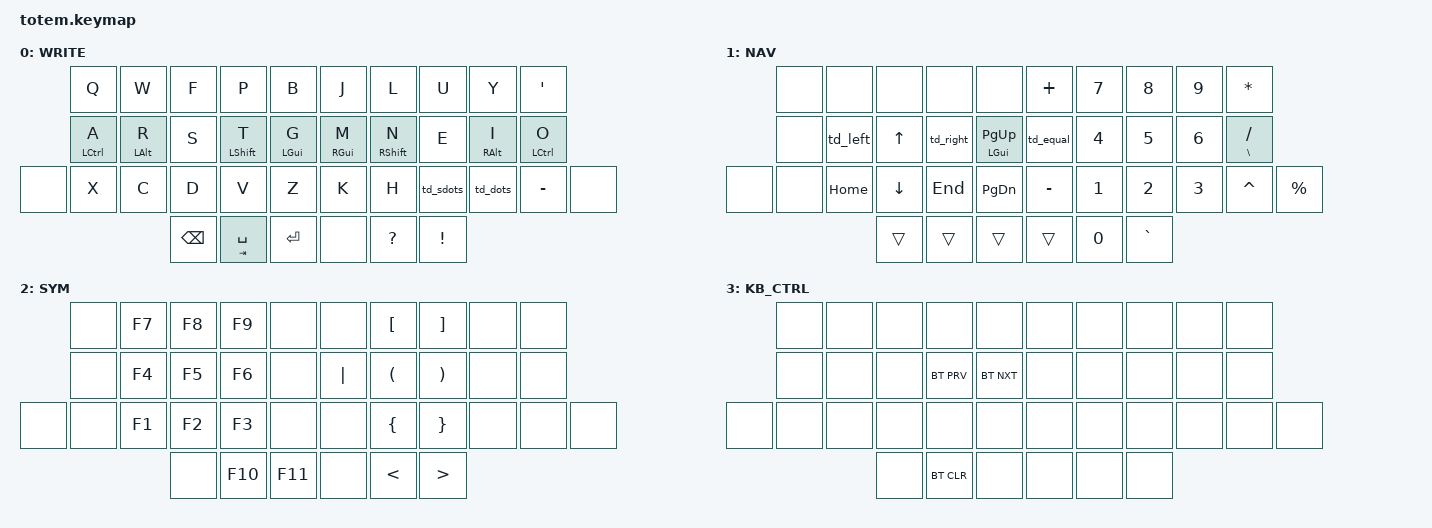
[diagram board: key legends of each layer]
//
//                                                        ▀▀▀▀▀     ▀▀▀▀▀          ▀▀█▀▀
//                                                        ▄▀▀▀▄  ▄  ▄▀▀▀▄  ▄  ▄▀▀▀▄  █  ▄▀▀▀▄
//                                                        █   █  █  █   █  █  █   █  █  █   █
//                                                         ▀▀▀   █   ▀▀▀   █   ▀▀▀   ▀   ▀▀▀
//                                                               █      ▄▄▄█▄▄▄    █   █  
//                                                               ▀      █  █  █     █▄█
//                                                             ▀▀▀▀▀    █  █  █      ▀
//                                                                      ▀  ▀  ▀
//
// ▄▄▄▄▄▄▄▄▄▄▄▄▄▄▄▄▄▄▄▄▄▄▄▄▄▄▄▄▄▄▄▄▄▄▄▄▄▄▄▄▄▄▄▄▄▄▄▄▄▄▄▄▄▄▄▄▄▄▄▄▄▄▄▄▄▄▄▄▄▄▄▄▄▄▄▄▄▄▄▄▄▄▄▄▄▄▄▄▄▄▄▄▄▄▄▄▄▄▄▄▄▄▄▄▄▄▄▄▄▄▄▄▄▄▄▄▄▄▄▄▄▄▄▄▄▄▄▄▄▄▄▄▄▄▄▄▄▄▄▄▄▄▄▄▄▄▄▄▄
       

#include <behaviors.dtsi>
#include <dt-bindings/zmk/keys.h>
#include <dt-bindings/zmk/bt.h>
#include <dt-bindings/zmk/outputs.h>

// NUMBERS REPRESENT INDEXES OF LAYERS IN THE KEYMAP
#define WRITE 0
#define NAV 1
#define SYM  2
#define KB_CTRL 3

#define DUMMY_KEY F24 // DUMMY KEY

&mt {
  quick-tap-ms = <100>;
  global-quick-tap;
  flavor = "tap-preferred";
  tapping-term-ms = <250>;
};

/ {

//             ┏━━━━━━━━━━━┳━━━━━━━━━━━┳━━━━━━━━━━━┳━━━━━━━━━━━┳━━━━━━━━━━━┓   ┏━━━━━━━━━━━┳━━━━━━━━━━━┳━━━━━━━━━━━┳━━━━━━━━━━━┳━━━━━━━━━━━┓
//             ┃     0     ┃     1     ┃     2     ┃     3     ┃     4     ┃   ┃     5     ┃     6     ┃     7     ┃     8     ┃     9     ┃
//             ┣━━━━━━━━━━━╋━━━━━━━━━━━╋━━━━━━━━━━━╋━━━━━━━━━━━╋━━━━━━━━━━━┫   ┣━━━━━━━━━━━╋━━━━━━━━━━━╋━━━━━━━━━━━╋━━━━━━━━━━━╋━━━━━━━━━━━┫
//             ┃    10     ┃    11     ┃    12     ┃    13     ┃    14     ┃   ┃    15     ┃    16     ┃    17     ┃    18     ┃    19     ┃
// ┏━━━━━━━━━━━╋━━━━━━━━━━━╋━━━━━━━━━━━╋━━━━━━━━━━━╋━━━━━━━━━━━╋━━━━━━━━━━━┫   ┣━━━━━━━━━━━╋━━━━━━━━━━━╋━━━━━━━━━━━╋━━━━━━━━━━━╋━━━━━━━━━━━╋━━━━━━━━━━━┓
// ┃    20     ┃    21     ┃    22     ┃    23     ┃    24     ┃    25     ┃   ┃    26     ┃    27     ┃    28     ┃    29     ┃    30     ┃    31     ┃
// ┗━━━━━━━━━━━┻━━━━━━━━━━━┻━━━━━━━━━━━╋━━━━━━━━━━━╋━━━━━━━━━━━╋━━━━━━━━━━━┫   ┣━━━━━━━━━━━╋━━━━━━━━━━━╋━━━━━━━━━━━╋━━━━━━━━━━━┻━━━━━━━━━━━┻━━━━━━━━━━━┛
//                                     ┃    32     ┃    33     ┃    34     ┃   ┃    35     ┃    36     ┃    37     ┃
//                                     ┗━━━━━━━━━━━┻━━━━━━━━━━━┻━━━━━━━━━━━┛   ┗━━━━━━━━━━━┻━━━━━━━━━━━┻━━━━━━━━━━━┛


     combos {
            compatible = "zmk,combos";

            // COMBO LEFT HAND
            combo_esc_left {
                timeout-ms = <50>;
                key-positions = <11 12>;
                bindings = <&kp ESC>;
            };
            combo_enter_left {
                timeout-ms = <50>;
                key-positions = <12 13>;
                bindings = <&kp ENTER>;
            };
            combo_nav_left {
                timeout-ms = <50>;
                slow-release;
                key-positions = <20>;
                bindings = <&mo NAV>;
            };
            combo_sym_left {
                timeout-ms = <50>;
                slow-release;
                key-positions = <20 2>;
                bindings = <&mo SYM>;
            };

            // COMBO RIGHT HAND
            combo_enter_right {
                timeout-ms = <50>;
                key-positions = <16 17>;
                bindings = <&kp ENTER>;
            };
            combo_esc_right {
                timeout-ms = <50>;
                key-positions = <17 18>;
                bindings = <&kp ESC>;
            };
            combo_nav_right {
                timeout-ms = <50>;
                slow-release;
                key-positions = <31>;
                bindings = <&mo NAV>;
            };
            combo_sym_right {
                timeout-ms = <50>;
                slow-release;
                key-positions = <31 7>;
                bindings = <&mo SYM>;
            };

            // COMBO BOTH HANDS
            combo_control_layer {
                timeout-ms = <50>;
                key-positions = <20 31>;
                layers = <WRITE KB_CTRL>;
                bindings = <&tog KB_CTRL>;
            };

            combo_del {  // bcsk but forward
                timeout-ms = <50>;
                key-positions = <13 32>;
                bindings = <&kp DEL>;
            };

            combo_save_or_select {
                timeout-ms = <250>;
                key-positions = <10 12>;
                bindings = <&mt LC(A) LC(S)>;
            };
    };

    behaviors {

        td_dots: tap_dance_1 {
            compatible = "zmk,behavior-tap-dance";
            #binding-cells = <0>;
            tapping-term-ms = <250>;
            bindings = <&kp DOT>, <&kp COLON>;
        };

        td_sdots: tap_dance_2 {
            compatible = "zmk,behavior-tap-dance";
            #binding-cells = <0>;
            tapping-term-ms = <250>;
            bindings = <&kp COMMA>, <&kp SEMICOLON>;
        };

        td_equal: tap_dance_3 {
            compatible = "zmk,behavior-tap-dance";
            #binding-cells = <0>;
            tapping-term-ms = <250>;
            bindings = <&kp EQUAL>, <&kp LESS_THAN>, <&kp GREATER_THAN>;
        };

        td_left: tap_dance_4 {
            compatible = "zmk,behavior-tap-dance";
            #binding-cells = <0>;
            tapping-term-ms = <220>;
            bindings = <&mt LALT LEFT>, <&kp LEFT>;
        };

        td_right: tap_dance_5 {
            compatible = "zmk,behavior-tap-dance";
            #binding-cells = <0>;
            tapping-term-ms = <220>;
            bindings = <&mt LSHFT RIGHT>, <&kp RIGHT>;
        };

    };

        keymap {
                compatible = "zmk,keymap";
// ▄▄▄▄▄▄▄▄▄▄▄▄▄▄▄▄▄▄▄▄▄▄▄▄▄▄▄▄▄▄▄▄▄▄▄▄▄▄▄▄▄▄▄▄▄▄▄▄▄▄▄▄▄▄▄▄▄▄▄▄▄▄▄▄▄▄▄▄▄▄▄▄▄▄▄▄▄▄▄▄▄▄▄▄▄▄▄▄▄▄▄▄▄▄▄▄▄▄▄▄▄▄▄▄▄▄▄▄▄▄▄▄▄▄▄▄▄▄▄▄▄▄▄▄▄▄▄▄▄▄▄▄▄▄▄▄▄▄▄▄▄▄▄▄▄▄▄▄▄
                write_layer {
// ┏━━━━━━━━━━━━━━━━━━━━━━━━━━━━━━━━━━━━━━━┓
label= "WRITE"                           ;
// ┗━━━━━━━━━━━━━━━━━━━━━━━━━━━━━━━━━━━━━━━┛
//             ┏━━━━━━━━━━━┳━━━━━━━━━━━┳━━━━━━━━━━━┳━━━━━━━━━━━┳━━━━━━━━━━━┓   ┏━━━━━━━━━━━┳━━━━━━━━━━━┳━━━━━━━━━━━┳━━━━━━━━━━━┳━━━━━━━━━━━┓
//             ┃     Q     ┃     W     ┃     F     ┃     P     ┃     B     ┃   ┃     J     ┃     L     ┃     U     ┃     Y     ┃  ' or "  use shift  ┃
//             ┣━━━━━━━━━━━╋━━━━━━━━━━━╋━━━━━━━━━━━╋━━━━━━━━━━━╋━━━━━━━━━━━┫   ┣━━━━━━━━━━━╋━━━━━━━━━━━╋━━━━━━━━━━━╋━━━━━━━━━━━╋━━━━━━━━━━━┫
//             ┃ Ctrl or A ┃ Alt or R  ┃     S     ┃ Shift or T┃   LGUI G  ┃   ┃     M     ┃ Shift or N┃      E    ┃ Alt or I  ┃ Ctrl or O ┃
// ┏━━━━━━━━━━━╋━━━━━━━━━━━╋━━━━━━━━━━━╋━━━━━━━━━━━╋━━━━━━━━━━━╋━━━━━━━━━━━┫   ┣━━━━━━━━━━━╋━━━━━━━━━━━╋━━━━━━━━━━━╋━━━━━━━━━━━╋━━━━━━━━━━━╋━━━━━━━━━━━┓
// ┃NUM or SYM ┃     X     ┃     C     ┃     D     ┃     V     ┃     Z     ┃   ┃     K     ┃     H     ┃  , or ;   ┃   . or :  ┃  - or - use shift  ┃ ` or ~ ┃ 
// ┗━━━━━━━━━━━┻━━━━━━━━━━━┻━━━━━━━━━━━╋━━━━━━━━━━━╋━━━━━━━━━━━╋━━━━━━━━━━━┫   ┣━━━━━━━━━━━╋━━━━━━━━━━━╋━━━━━━━━━━━╋━━━━━━━━━━━┻━━━━━━━━━━━┻━━━━━━━━━━━┛
//                                     ┃   BSPC    ┃ TAB or SPACE┃Shift+Enter┃ ┃           ┃           ┃   ? or !  ┃
//                                     ┗━━━━━━━━━━━┻━━━━━━━━━━━┻━━━━━━━━━━━┛   ┗━━━━━━━━━━━┻━━━━━━━━━━━┻━━━━━━━━━━━┛

 bindings = <
// ╷           ╷           ╷           ╷           ╷           ╷           ╷   ╷           ╷           ╷           ╷           ╷           ╷           ╷

                &kp Q       &kp W       &kp F       &kp P       &kp B           &kp J       &kp L       &kp U       &kp Y       &kp SQT
                &mt LCTRL A &mt LALT R  &kp S       &mt LSHFT T &mt LGUI G      &mt RGUI M  &mt RSHIFT N &kp E      &mt RALT I  &mt LCTRL O
    &none       &kp X       &kp C       &kp D       &kp V       &kp Z           &kp K       &kp H       &td_sdots   &td_dots    &kp MINUS    &none 
                                        &kp BSPC    &mt TAB SPACE &kp ENTER     &none       &kp QMARK   &kp EXCL       
                        >;
                };

// ▄▄▄▄▄▄▄▄▄▄▄▄▄▄▄▄▄▄▄▄▄▄▄▄▄▄▄▄▄▄▄▄▄▄▄▄▄▄▄▄▄▄▄▄▄▄▄▄▄▄▄▄▄▄▄▄▄▄▄▄▄▄▄▄▄▄▄▄▄▄▄▄▄▄▄▄▄▄▄▄▄▄▄▄▄▄▄▄▄▄▄▄▄▄▄▄▄▄▄▄▄▄▄▄▄▄▄▄▄▄▄▄▄▄▄▄▄▄▄▄▄▄▄▄▄▄▄▄▄▄▄▄▄▄▄▄▄▄▄▄▄▄▄▄▄▄▄▄▄

                nav_layer {
// ┏━━━━━━━━━━━━━━━━━━━━━━━━━━━━━━━━━━━━━━━┓
label= "NAV"                            ;
// ┗━━━━━━━━━━━━━━━━━━━━━━━━━━━━━━━━━━━━━━━┛
//             ┏━━━━━━━━━━━┳━━━━━━━━━━━┳━━━━━━━━━━━┳━━━━━━━━━━━┳━━━━━━━━━━━┓   ┏━━━━━━━━━━━┳━━━━━━━━━━━┳━━━━━━━━━━━┳━━━━━━━━━━━┳━━━━━━━━━━━┓
//             ┃           ┃           ┃           ┃           ┃           ┃   ┃     +     ┃     7     ┃     8     ┃     9     ┃     *     ┃
//             ┣━━━━━━━━━━━╋━━━━━━━━━━━╋━━━━━━━━━━━╋━━━━━━━━━━━╋━━━━━━━━━━━┫   ┣━━━━━━━━━━━╋━━━━━━━━━━━╋━━━━━━━━━━━╋━━━━━━━━━━━╋━━━━━━━━━━━┫
//             ┃           ┃   LEFT    ┃     UP    ┃   RIGHT   ┃    PG_UP  ┃   ┃= or < or >┃     4     ┃     5     ┃     6     ┃   \ or /  ┃
// ┏━━━━━━━━━━━╋━━━━━━━━━━━╋━━━━━━━━━━━╋━━━━━━━━━━━╋━━━━━━━━━━━╋━━━━━━━━━━━┫   ┣━━━━━━━━━━━╋━━━━━━━━━━━╋━━━━━━━━━━━╋━━━━━━━━━━━╋━━━━━━━━━━━╋━━━━━━━━━━━┓
// ┃           ┃           ┃   HOME    ┃    DOWN   ┃    END    ┃    PG_DN  ┃   ┃     -     ┃     1     ┃     2     ┃     3     ┃     ^     ┃     %     ┃
// ┗━━━━━━━━━━━┻━━━━━━━━━━━┻━━━━━━━━━━━╋━━━━━━━━━━━╋━━━━━━━━━━━╋━━━━━━━━━━━┫   ┣━━━━━━━━━━━╋━━━━━━━━━━━╋━━━━━━━━━━━╋━━━━━━━━━━━┻━━━━━━━━━━━┻━━━━━━━━━━━┛
//                                     ┃           ┃           ┃           ┃   ┃           ┃     0     ┃   ` or ~  ┃
//                                     ┗━━━━━━━━━━━┻━━━━━━━━━━━┻━━━━━━━━━━━┛   ┗━━━━━━━━━━━┻━━━━━━━━━━━┻━━━━━━━━━━━┛
 bindings = <
// ╷           ╷           ╷           ╷           ╷           ╷           ╷   ╷           ╷           ╷           ╷           ╷           ╷           ╷

                &none      &none       &none       &none        &none            &kp PLUS    &kp N7     &kp N8      &kp N9      &kp ASTRK
                &none      &td_left    &kp UP      &td_right    &mt LGUI PG_UP   &td_equal   &kp N4     &kp N5      &kp N6      &mt BSLH FSLH
    &none       &none      &kp HOME    &kp DOWN    &kp END      &kp PG_DN        &kp MINUS   &kp N1     &kp N2      &kp N3      &kp CARET   &kp PERCENT
                                       &trans      &trans       &trans           &trans      &kp N0     &kp GRAVE
                        >;
                };

                sym_layer { 
// ┏━━━━━━━━━━━━━━━━━━━━━━━━━━━━━━━━━━━━━━━┓
label= "SYM"                               ;
// ┗━━━━━━━━━━━━━━━━━━━━━━━━━━━━━━━━━━━━━━━┛
//             ┏━━━━━━━━━━━┳━━━━━━━━━━━┳━━━━━━━━━━━┳━━━━━━━━━━━┳━━━━━━━━━━━┓   ┏━━━━━━━━━━━┳━━━━━━━━━━━┳━━━━━━━━━━━┳━━━━━━━━━━━┳━━━━━━━━━━━┓
//             ┃           ┃     F7    ┃     F8    ┃    F9     ┃           ┃   ┃           ┃     [     ┃      ]    ┃           ┃           ┃
//             ┣━━━━━━━━━━━╋━━━━━━━━━━━╋━━━━━━━━━━━╋━━━━━━━━━━━╋━━━━━━━━━━━┫   ┣━━━━━━━━━━━╋━━━━━━━━━━━╋━━━━━━━━━━━╋━━━━━━━━━━━╋━━━━━━━━━━━┫
//             ┃           ┃     F4    ┃     F5    ┃    F6     ┃           ┃   ┃     |     ┃     (     ┃      )    ┃           ┃           ┃
// ┏━━━━━━━━━━━╋━━━━━━━━━━━╋━━━━━━━━━━━╋━━━━━━━━━━━╋━━━━━━━━━━━╋━━━━━━━━━━━┫   ┣━━━━━━━━━━━╋━━━━━━━━━━━╋━━━━━━━━━━━╋━━━━━━━━━━━╋━━━━━━━━━━━╋━━━━━━━━━━━┓
// ┃           ┃           ┃     F1    ┃     F2    ┃    F3     ┃           ┃   ┃           ┃     {     ┃      }    ┃           ┃           ┃           ┃ 
// ┗━━━━━━━━━━━┻━━━━━━━━━━━┻━━━━━━━━━━━╋━━━━━━━━━━━╋━━━━━━━━━━━╋━━━━━━━━━━━┫   ┣━━━━━━━━━━━╋━━━━━━━━━━━╋━━━━━━━━━━━╋━━━━━━━━━━━┻━━━━━━━━━━━┻━━━━━━━━━━━┛
//                                     ┃           ┃    F10    ┃    F11    ┃   ┃           ┃     <     ┃     >     ┃
//                                     ┗━━━━━━━━━━━┻━━━━━━━━━━━┻━━━━━━━━━━━┛   ┗━━━━━━━━━━━┻━━━━━━━━━━━┻━━━━━━━━━━━┛
 bindings = <
// ╷           ╷           ╷           ╷           ╷           ╷           ╷   ╷           ╷           ╷           ╷           ╷           ╷           ╷

                &none       &kp F7      &kp F8      &kp F9      &none           &none       &kp LBKT    &kp RBKT    &none       &none                                     
                &none       &kp F4      &kp F5      &kp F6      &none           &kp PIPE    &kp LPAR    &kp RPAR    &none       &none
    &none       &none       &kp F1      &kp F2      &kp F3      &none           &none       &kp LBRC    &kp RBRC    &none       &none       &none
                                        &none       &kp F10     &kp F11         &none       &kp LT      &kp GT
        >;
    };

// ▄▄▄▄▄▄▄▄▄▄▄▄▄▄▄▄▄▄▄▄▄▄▄▄▄▄▄▄▄▄▄▄▄▄▄▄▄▄▄▄▄▄▄▄▄▄▄▄▄▄▄▄▄▄▄▄▄▄▄▄▄▄▄▄▄▄▄▄▄▄▄▄▄▄▄▄▄▄▄▄▄▄▄▄▄▄▄▄▄▄▄▄▄▄▄▄▄▄▄▄▄▄▄▄▄▄▄▄▄▄▄▄▄▄▄▄▄▄▄▄▄▄▄▄▄▄▄▄▄▄▄▄▄▄▄▄▄▄▄▄▄▄▄▄▄▄▄▄▄

                kb_ctrl_layer {
// ┏━━━━━━━━━━━━━━━━━━━━━━━━━━━━━━━━━━━━━━━┓
label= "KB_CTRL"                           ;
// ┗━━━━━━━━━━━━━━━━━━━━━━━━━━━━━━━━━━━━━━━┛
//             ┏━━━━━━━━━━━┳━━━━━━━━━━━┳━━━━━━━━━━━┳━━━━━━━━━━━┳━━━━━━━━━━━┓   ┏━━━━━━━━━━━┳━━━━━━━━━━━┳━━━━━━━━━━━┳━━━━━━━━━━━┳━━━━━━━━━━━┓
//             ┃           ┃           ┃           ┃           ┃           ┃   ┃           ┃           ┃           ┃           ┃           ┃
//             ┣━━━━━━━━━━━╋━━━━━━━━━━━╋━━━━━━━━━━━╋━━━━━━━━━━━╋━━━━━━━━━━━┫   ┣━━━━━━━━━━━╋━━━━━━━━━━━╋━━━━━━━━━━━╋━━━━━━━━━━━╋━━━━━━━━━━━┫
//             ┃           ┃           ┃           ┃  BT PREV  ┃  BT NEXT  ┃   ┃           ┃           ┃           ┃           ┃           ┃
// ┏━━━━━━━━━━━╋━━━━━━━━━━━╋━━━━━━━━━━━╋━━━━━━━━━━━╋━━━━━━━━━━━╋━━━━━━━━━━━┫   ┣━━━━━━━━━━━╋━━━━━━━━━━━╋━━━━━━━━━━━╋━━━━━━━━━━━╋━━━━━━━━━━━╋━━━━━━━━━━━┓
// ┃           ┃           ┃           ┃           ┃           ┃           ┃   ┃           ┃           ┃           ┃           ┃           ┃           ┃
// ┗━━━━━━━━━━━┻━━━━━━━━━━━┻━━━━━━━━━━━╋━━━━━━━━━━━╋━━━━━━━━━━━╋━━━━━━━━━━━┫   ┣━━━━━━━━━━━╋━━━━━━━━━━━╋━━━━━━━━━━━╋━━━━━━━━━━━┻━━━━━━━━━━━┻━━━━━━━━━━━┛
//                                     ┃           ┃  BT CLR   ┃           ┃   ┃           ┃           ┃           ┃
//                                     ┗━━━━━━━━━━━┻━━━━━━━━━━━┻━━━━━━━━━━━┛   ┗━━━━━━━━━━━┻━━━━━━━━━━━┻━━━━━━━━━━━┛
 bindings = <
// ╷           ╷           ╷           ╷           ╷           ╷           ╷   ╷           ╷           ╷           ╷           ╷           ╷           ╷

                &none       &none       &none       &none       &none           &none       &none       &none       &none       &none       
                &none       &none       &none       &bt BT_PRV  &bt BT_NXT      &none       &none       &none       &none       &none        
    &none       &none       &none       &none       &none       &none           &none       &none       &none       &none       &none       &none                
                                        &none       &bt BT_CLR  &none           &none       &none       &none       
                        >;
                };
// ▄▄▄▄▄▄▄▄▄▄▄▄▄▄▄▄▄▄▄▄▄▄▄▄▄▄▄▄▄▄▄▄▄▄▄▄▄▄▄▄▄▄▄▄▄▄▄▄▄▄▄▄▄▄▄▄▄▄▄▄▄▄▄▄▄▄▄▄▄▄▄▄▄▄▄▄▄▄▄▄▄▄▄▄▄▄▄▄▄▄▄▄▄▄▄▄▄▄▄▄▄▄▄▄▄▄▄▄▄▄▄▄▄▄▄▄▄▄▄▄▄▄▄▄▄▄▄▄▄▄▄▄▄▄▄▄▄▄▄▄▄▄▄▄▄▄▄▄▄
        };
};
